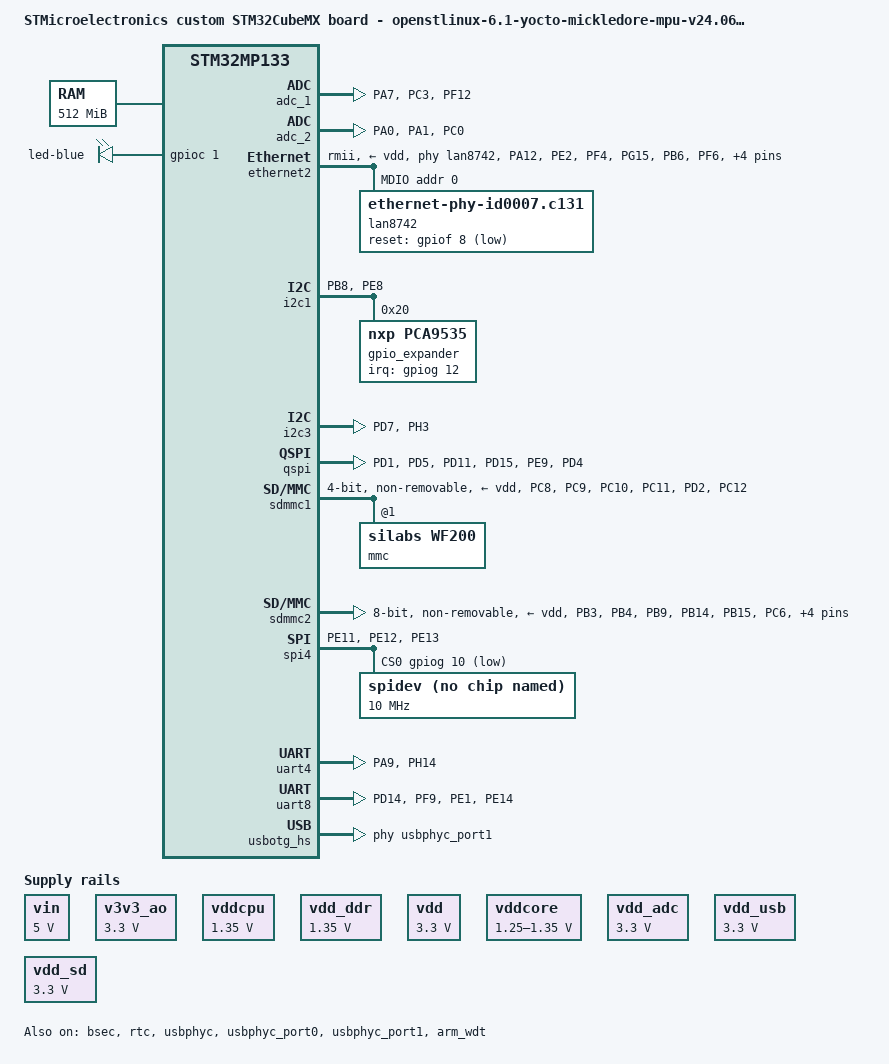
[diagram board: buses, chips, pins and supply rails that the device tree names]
// SPDX-License-Identifier: (GPL-2.0-or-later OR BSD-3-Clause)
/*
 * Copyright (C) 2025, STMicroelectronics - All Rights Reserved
 * Author: STM32CubeMX code generation for STMicroelectronics.
 */

/* For more information on Device Tree configuration, please refer to
 * https://wiki.st.com/stm32mpu/wiki/Category:Device_tree_configuration
 */

/dts-v1/;

#include <dt-bindings/pinctrl/stm32-pinfunc.h>
#include "stm32mp133.dtsi"

/* USER CODE BEGIN includes */
#include <dt-bindings/gpio/gpio.h>
#include <dt-bindings/input/input.h>
#include <dt-bindings/leds/common.h>
#include <dt-bindings/pwm/pwm.h>
#include <dt-bindings/rtc/rtc-stm32.h>
/* USER CODE END includes */

/ {
	model = "STMicroelectronics custom STM32CubeMX board - openstlinux-6.1-yocto-mickledore-mpu-v24.06.26";
	compatible = "st,stm32mp133d-thingscore-1-mx", "st,stm32mp133";

	memory@c0000000 {
		device_type = "memory";
		reg = <0xc0000000 0x20000000>;

		/* USER CODE BEGIN memory */
		/* USER CODE END memory */
	};

	reserved-memory {
		#address-cells = <1>;
		#size-cells = <1>;
		ranges;

		/* USER CODE BEGIN reserved-memory */
		/* USER CODE END reserved-memory */
	};

	/* USER CODE BEGIN root */
	aliases{
		serial0 = &uart4;
		ethernet0 = &ethernet2;
	};

	chosen{
		stdout-path = "serial0:115200n8";
	};

	leds{
		compatible = "gpio-leds";

		led-blue{
			function = LED_FUNCTION_HEARTBEAT;
			gpios = <&gpioc 1 GPIO_ACTIVE_HIGH>;
			linux,default-trigger = "heartbeat";
			default-state = "on";
		};
	};
	
	wfx_pwrseq: wfx_pwrseq {
		compatible = "mmc-pwrseq-simple";
		pinctrl-names = "default";
	};
	
	sdmmc1_io: sdmmc1_io {
		compatible = "st,stm32mp13-iod";
		regulator-name = "sdmmc1_io";
		regulator-always-on;
	};

	sdmmc2_io: sdmmc2_io {
		compatible = "st,stm32mp13-iod";
		regulator-name = "sdmmc2_io";
		regulator-always-on;
	};

	vin: vin {
		compatible = "regulator-fixed";
		regulator-name = "vin";
		regulator-min-microvolt = <5000000>;
		regulator-max-microvolt = <5000000>;
		regulator-always-on;
	};

	v3v3_ao: v3v3_ao {
		compatible = "regulator-fixed";
		regulator-name = "v3v3_ao";
		regulator-min-microvolt = <3300000>;
		regulator-max-microvolt = <3300000>;
		regulator-always-on;
	};

	vddcpu: vddcpu {
		compatible = "regulator-fixed";
		regulator-name = "vddcpu";
		regulator-min-microvolt = <1350000>;
		regulator-max-microvolt = <1350000>;
		regulator-always-on;
	};

	vdd_ddr: vdd_ddr {
		compatible = "regulator-fixed";
		regulator-name = "vdd_ddr";
		regulator-min-microvolt = <1350000>;
		regulator-max-microvolt = <1350000>;
		regulator-always-on;
	};

	vdd: vdd {
		compatible = "regulator-fixed";
		regulator-name = "vdd";
		regulator-min-microvolt = <3300000>;
		regulator-max-microvolt = <3300000>;
		regulator-always-on;
	};

	vddcore: vddcore {
		compatible = "regulator-fixed";
		regulator-name = "vddcore";
		regulator-min-microvolt = <1250000>;
		regulator-max-microvolt = <1350000>;
		regulator-always-on;
	};

	vdd_adc: vdd_adc {
		compatible = "regulator-fixed";
		regulator-name = "vdd_adc";
		regulator-min-microvolt = <3300000>;
		regulator-max-microvolt = <3300000>;
		regulator-always-on;
	};

	vdd_usb: vdd_usb {
		compatible = "regulator-fixed";
		regulator-name = "vdd_usb";
		regulator-min-microvolt = <3300000>;
		regulator-max-microvolt = <3300000>;
		regulator-always-on;
	};

	vdd_sd: vdd_sd {
		compatible = "regulator-fixed";
		regulator-name = "vdd_sd";
		regulator-min-microvolt = <3300000>;
		regulator-max-microvolt = <3300000>;
		regulator-always-on;
	};
	/* USER CODE END root */

	clocks{

		/* USER CODE BEGIN clocks */
		/* USER CODE END clocks */
	};

}; /*root*/

&pinctrl {

	adc1_pins_mx: adc1_mx-0 {
		pins {
			pinmux = <STM32_PINMUX('A', 7, ANALOG)>, /* ADC1_INP16 */
					 <STM32_PINMUX('C', 3, ANALOG)>, /* ADC1_INP13 */
					 <STM32_PINMUX('F', 12, ANALOG)>; /* ADC1_INP6 */
		};
	};

	adc1_sleep_pins_mx: adc1_sleep_mx-0 {
		pins {
			pinmux = <STM32_PINMUX('A', 7, ANALOG)>, /* ADC1_INP16 */
					 <STM32_PINMUX('C', 3, ANALOG)>, /* ADC1_INP13 */
					 <STM32_PINMUX('F', 12, ANALOG)>; /* ADC1_INP6 */
		};
	};

	adc2_pins_mx: adc2_mx-0 {
		pins {
			pinmux = <STM32_PINMUX('A', 0, ANALOG)>, /* ADC2_INP7 */
					 <STM32_PINMUX('A', 1, ANALOG)>, /* ADC2_INP3 */
					 <STM32_PINMUX('C', 0, ANALOG)>; /* ADC2_INP0 */
		};
	};

	adc2_sleep_pins_mx: adc2_sleep_mx-0 {
		pins {
			pinmux = <STM32_PINMUX('A', 0, ANALOG)>, /* ADC2_INP7 */
					 <STM32_PINMUX('A', 1, ANALOG)>, /* ADC2_INP3 */
					 <STM32_PINMUX('C', 0, ANALOG)>; /* ADC2_INP0 */
		};
	};

	eth2_pins_mx: eth2_mx-0 {
		pins1 {
			pinmux = <STM32_PINMUX('A', 12, AF11)>, /* ETH2_CRS_DV */
					 <STM32_PINMUX('E', 2, AF10)>, /* ETH2_RXD1 */
					 <STM32_PINMUX('F', 4, AF11)>, /* ETH2_RXD0 */
					 <STM32_PINMUX('G', 15, AF10)>; /* ETH2_PHY_INTN */
			bias-disable;
		};
		pins2 {
			pinmux = <STM32_PINMUX('B', 6, AF11)>; /* ETH2_MDIO */
			bias-disable;
			drive-push-pull;
			slew-rate = <0>;
		};
		pins3 {
			pinmux = <STM32_PINMUX('F', 6, AF11)>, /* ETH2_TX_EN */
					 <STM32_PINMUX('F', 7, AF11)>, /* ETH2_TXD0 */
					 <STM32_PINMUX('G', 5, AF10)>, /* ETH2_MDC */
					 <STM32_PINMUX('G', 11, AF10)>, /* ETH2_TXD1 */
					 <STM32_PINMUX('H', 11, AF11)>; /* ETH2_REF_CLK */
			bias-disable;
			drive-push-pull;
			slew-rate = <1>;
		};
	};

	eth2_sleep_pins_mx: eth2_sleep_mx-0 {
		pins {
			pinmux = <STM32_PINMUX('A', 12, ANALOG)>, /* ETH2_CRS_DV */
					 <STM32_PINMUX('B', 6, ANALOG)>, /* ETH2_MDIO */
					 <STM32_PINMUX('E', 2, ANALOG)>, /* ETH2_RXD1 */
					 <STM32_PINMUX('F', 4, ANALOG)>, /* ETH2_RXD0 */
					 <STM32_PINMUX('F', 6, ANALOG)>, /* ETH2_TX_EN */
					 <STM32_PINMUX('F', 7, ANALOG)>, /* ETH2_TXD0 */
					 <STM32_PINMUX('G', 5, ANALOG)>, /* ETH2_MDC */
					 <STM32_PINMUX('G', 11, ANALOG)>, /* ETH2_TXD1 */
					 <STM32_PINMUX('G', 15, ANALOG)>, /* ETH2_PHY_INTN */
					 <STM32_PINMUX('H', 11, ANALOG)>; /* ETH2_REF_CLK */
		};
	};

	i2c1_pins_mx: i2c1_mx-0 {
		pins {
			pinmux = <STM32_PINMUX('B', 8, AF4)>, /* I2C1_SCL */
					 <STM32_PINMUX('E', 8, AF5)>; /* I2C1_SDA */
			bias-disable;
			drive-open-drain;
			slew-rate = <0>;
		};
	};

	i2c1_sleep_pins_mx: i2c1_sleep_mx-0 {
		pins {
			pinmux = <STM32_PINMUX('B', 8, ANALOG)>, /* I2C1_SCL */
					 <STM32_PINMUX('E', 8, ANALOG)>; /* I2C1_SDA */
		};
	};

	i2c3_pins_mx: i2c3_mx-0 {
		pins {
			pinmux = <STM32_PINMUX('D', 7, AF5)>, /* I2C3_SDA */
					 <STM32_PINMUX('H', 3, AF4)>; /* I2C3_SCL */
			bias-disable;
			drive-open-drain;
			slew-rate = <0>;
		};
	};

	i2c3_sleep_pins_mx: i2c3_sleep_mx-0 {
		pins {
			pinmux = <STM32_PINMUX('D', 7, ANALOG)>, /* I2C3_SDA */
					 <STM32_PINMUX('H', 3, ANALOG)>; /* I2C3_SCL */
		};
	};

	quadspi_pins_mx: quadspi_mx-0 {
		pins1 {
			pinmux = <STM32_PINMUX('D', 1, AF9)>, /* QUADSPI_BK1_NCS */
					 <STM32_PINMUX('D', 5, AF9)>, /* QUADSPI_BK1_IO0 */
					 <STM32_PINMUX('D', 11, AF9)>, /* QUADSPI_BK1_IO2 */
					 <STM32_PINMUX('D', 15, AF9)>, /* QUADSPI_BK1_IO3 */
					 <STM32_PINMUX('E', 9, AF9)>; /* QUADSPI_BK1_IO1 */
			bias-disable;
			drive-push-pull;
			slew-rate = <1>;
		};
		pins2 {
			pinmux = <STM32_PINMUX('D', 4, AF9)>; /* QUADSPI_CLK */
			bias-disable;
			drive-push-pull;
			slew-rate = <2>;
		};
	};

	quadspi_sleep_pins_mx: quadspi_sleep_mx-0 {
		pins {
			pinmux = <STM32_PINMUX('D', 1, ANALOG)>, /* QUADSPI_BK1_NCS */
					 <STM32_PINMUX('D', 4, ANALOG)>, /* QUADSPI_CLK */
					 <STM32_PINMUX('D', 5, ANALOG)>, /* QUADSPI_BK1_IO0 */
					 <STM32_PINMUX('D', 11, ANALOG)>, /* QUADSPI_BK1_IO2 */
					 <STM32_PINMUX('D', 15, ANALOG)>, /* QUADSPI_BK1_IO3 */
					 <STM32_PINMUX('E', 9, ANALOG)>; /* QUADSPI_BK1_IO1 */
		};
	};

	sdmmc1_pins_mx: sdmmc1_mx-0 {
		pins1 {
			pinmux = <STM32_PINMUX('C', 8, AF12)>, /* SDMMC1_D0 */
					 <STM32_PINMUX('C', 9, AF12)>, /* SDMMC1_D1 */
					 <STM32_PINMUX('C', 10, AF12)>, /* SDMMC1_D2 */
					 <STM32_PINMUX('C', 11, AF12)>, /* SDMMC1_D3 */
					 <STM32_PINMUX('D', 2, AF12)>; /* SDMMC1_CMD */
			bias-pull-up;
			drive-push-pull;
			slew-rate = <1>;
		};
		pins2 {
			pinmux = <STM32_PINMUX('C', 12, AF12)>; /* SDMMC1_CK */
			bias-pull-up;
			drive-push-pull;
			slew-rate = <3>;
		};
	};

	sdmmc1_opendrain_pins_mx: sdmmc1_opendrain_mx-0 {
		pins1 {
			pinmux = <STM32_PINMUX('C', 8, AF12)>, /* SDMMC1_D0 */
					 <STM32_PINMUX('C', 9, AF12)>, /* SDMMC1_D1 */
					 <STM32_PINMUX('C', 10, AF12)>, /* SDMMC1_D2 */
					 <STM32_PINMUX('C', 11, AF12)>; /* SDMMC1_D3 */
			bias-pull-up;
			drive-push-pull;
			slew-rate = <1>;
		};
		pins2 {
			pinmux = <STM32_PINMUX('C', 12, AF12)>; /* SDMMC1_CK */
			bias-pull-up;
			drive-push-pull;
			slew-rate = <3>;
		};
		pins3 {
			pinmux = <STM32_PINMUX('D', 2, AF12)>; /* SDMMC1_CMD */
			bias-pull-up;
			drive-open-drain;
			slew-rate = <1>;
		};
	};

	sdmmc1_sleep_pins_mx: sdmmc1_sleep_mx-0 {
		pins {
			pinmux = <STM32_PINMUX('C', 8, ANALOG)>, /* SDMMC1_D0 */
					 <STM32_PINMUX('C', 9, ANALOG)>, /* SDMMC1_D1 */
					 <STM32_PINMUX('C', 10, ANALOG)>, /* SDMMC1_D2 */
					 <STM32_PINMUX('C', 11, ANALOG)>, /* SDMMC1_D3 */
					 <STM32_PINMUX('C', 12, ANALOG)>, /* SDMMC1_CK */
					 <STM32_PINMUX('D', 2, ANALOG)>; /* SDMMC1_CMD */
		};
	};

	sdmmc2_opendrain_pins_mx: sdmmc2_opendrain_mx-0 {
		pins1 {
			pinmux = <STM32_PINMUX('B', 3, AF10)>, /* SDMMC2_D2 */
					 <STM32_PINMUX('B', 4, AF10)>, /* SDMMC2_D3 */
					 <STM32_PINMUX('B', 9, AF10)>, /* SDMMC2_D5 */
					 <STM32_PINMUX('B', 14, AF10)>, /* SDMMC2_D0 */
					 <STM32_PINMUX('B', 15, AF10)>, /* SDMMC2_D1 */
					 <STM32_PINMUX('C', 6, AF10)>, /* SDMMC2_D6 */
					 <STM32_PINMUX('C', 7, AF10)>, /* SDMMC2_D7 */
					 <STM32_PINMUX('F', 0, AF10)>; /* SDMMC2_D4 */
			bias-disable;
			drive-push-pull;
			slew-rate = <1>;
		};
		pins2 {
			pinmux = <STM32_PINMUX('E', 3, AF10)>; /* SDMMC2_CK */
			bias-disable;
			drive-push-pull;
			slew-rate = <3>;
		};
		pins3 {
			pinmux = <STM32_PINMUX('G', 6, AF10)>; /* SDMMC2_CMD */
			bias-disable;
			drive-open-drain;
			slew-rate = <1>;
		};
	};
	
	sdmmc2_pins_mx: sdmmc2_mx-0 {
		pins1 {
			pinmux = <STM32_PINMUX('B', 3, AF10)>, /* SDMMC2_D2 */
					 <STM32_PINMUX('B', 4, AF10)>, /* SDMMC2_D3 */
					 <STM32_PINMUX('B', 9, AF10)>, /* SDMMC2_D5 */
					 <STM32_PINMUX('B', 14, AF10)>, /* SDMMC2_D0 */
					 <STM32_PINMUX('B', 15, AF10)>, /* SDMMC2_D1 */
					 <STM32_PINMUX('C', 6, AF10)>, /* SDMMC2_D6 */
					 <STM32_PINMUX('C', 7, AF10)>, /* SDMMC2_D7 */
					 <STM32_PINMUX('F', 0, AF10)>, /* SDMMC2_D4 */
					 <STM32_PINMUX('G', 6, AF10)>; /* SDMMC2_CMD */
			bias-disable;
			drive-push-pull;
			slew-rate = <1>;
		};
		pins2 {
			pinmux = <STM32_PINMUX('E', 3, AF10)>; /* SDMMC2_CK */
			bias-disable;
			drive-push-pull;
			slew-rate = <3>;
		};
	};

	sdmmc2_sleep_pins_mx: sdmmc2_sleep_mx-0 {
		pins {
			pinmux = <STM32_PINMUX('B', 3, ANALOG)>, /* SDMMC2_D2 */
					 <STM32_PINMUX('B', 4, ANALOG)>, /* SDMMC2_D3 */
					 <STM32_PINMUX('B', 9, ANALOG)>, /* SDMMC2_D5 */
					 <STM32_PINMUX('B', 14, ANALOG)>, /* SDMMC2_D0 */
					 <STM32_PINMUX('B', 15, ANALOG)>, /* SDMMC2_D1 */
					 <STM32_PINMUX('C', 6, ANALOG)>, /* SDMMC2_D6 */
					 <STM32_PINMUX('C', 7, ANALOG)>, /* SDMMC2_D7 */
					 <STM32_PINMUX('E', 3, ANALOG)>, /* SDMMC2_CK */
					 <STM32_PINMUX('F', 0, ANALOG)>, /* SDMMC2_D4 */
					 <STM32_PINMUX('G', 6, ANALOG)>; /* SDMMC2_CMD */
		};
	};


	spi4_pins_mx: spi4_mx-0 {
		pins {
			pinmux = <STM32_PINMUX('E', 11, AF5)>, /* SPI4_MOSI */
					 <STM32_PINMUX('E', 12, AF5)>, /* SPI4_SCK */
					 <STM32_PINMUX('E', 13, AF5)>; /* SPI4_MISO */
			bias-disable;
			drive-push-pull;
			slew-rate = <1>;
		};
	};

	spi4_sleep_pins_mx: spi4_sleep_mx-0 {
		pins {
			pinmux = <STM32_PINMUX('E', 11, ANALOG)>, /* SPI4_MOSI */
					 <STM32_PINMUX('E', 12, ANALOG)>, /* SPI4_SCK */
					 <STM32_PINMUX('E', 13, ANALOG)>; /* SPI4_MISO */
		};
	};

	uart4_pins_mx: uart4_mx-0 {
		pins1 {
			pinmux = <STM32_PINMUX('A', 9, AF8)>; /* UART4_TX */
			bias-disable;
			drive-push-pull;
			slew-rate = <0>;
		};
		pins2 {
			pinmux = <STM32_PINMUX('H', 14, AF8)>; /* UART4_RX */
			bias-disable;
		};
	};

	uart4_idle_pins_mx: uart4_idle_mx-0 {
		pins1 {
			pinmux = <STM32_PINMUX('A', 9, AF8)>; /* UART4_TX */
			bias-disable;
			drive-push-pull;
			slew-rate = <0>;
		};
		pins2 {
			pinmux = <STM32_PINMUX('H', 14, AF8)>; /* UART4_RX */
			bias-disable;
		};
	};

	uart4_sleep_pins_mx: uart4_sleep_mx-0 {
		pins {
			pinmux = <STM32_PINMUX('A', 9, ANALOG)>, /* UART4_TX */
					 <STM32_PINMUX('H', 14, ANALOG)>; /* UART4_RX */
		};
	};

	uart8_pins_mx: uart8_mx-0 {
		pins1 {
			pinmux = <STM32_PINMUX('D', 14, AF8)>, /* UART8_CTS */
					 <STM32_PINMUX('F', 9, AF8)>; /* UART8_RX */
			bias-disable;
		};
		pins2 {
			pinmux = <STM32_PINMUX('E', 1, AF8)>, /* UART8_TX */
					 <STM32_PINMUX('E', 14, AF8)>; /* UART8_RTS */
			bias-disable;
			drive-push-pull;
			slew-rate = <0>;
		};
	};

	uart8_idle_pins_mx: uart8_idle_mx-0 {
		pins1 {
			pinmux = <STM32_PINMUX('D', 14, AF8)>, /* UART8_CTS */
					 <STM32_PINMUX('F', 9, AF8)>; /* UART8_RX */
			bias-disable;
		};
		pins2 {
			pinmux = <STM32_PINMUX('E', 1, AF8)>, /* UART8_TX */
					 <STM32_PINMUX('E', 14, AF8)>; /* UART8_RTS */
			bias-disable;
			drive-push-pull;
			slew-rate = <0>;
		};
	};

	uart8_sleep_pins_mx: uart8_sleep_mx-0 {
		pins {
			pinmux = <STM32_PINMUX('D', 14, ANALOG)>, /* UART8_CTS */
					 <STM32_PINMUX('E', 1, ANALOG)>, /* UART8_TX */
					 <STM32_PINMUX('E', 14, ANALOG)>, /* UART8_RTS */
					 <STM32_PINMUX('F', 9, ANALOG)>; /* UART8_RX */
		};
	};

	/* USER CODE BEGIN pinctrl */
	/* USER CODE END pinctrl */
};

&adc_1{
	pinctrl-names = "default", "sleep";
	pinctrl-0 = <&adc1_pins_mx>;
	pinctrl-1 = <&adc1_sleep_pins_mx>;
	status = "okay";

	/* USER CODE BEGIN adc_1 */
	/* USER CODE END adc_1 */
};

&adc_2{
	pinctrl-names = "default", "sleep";
	pinctrl-0 = <&adc2_pins_mx>;
	pinctrl-1 = <&adc2_sleep_pins_mx>;
	status = "okay";

	/* USER CODE BEGIN adc_2 */
	/* USER CODE END adc_2 */
};

&bsec{
	status = "okay";

	/* USER CODE BEGIN bsec */
	/* USER CODE END bsec */
};

&dmamux1{
	status = "okay";

	/* !!! log : Warning - No dma master found  !!! */

	/* USER CODE BEGIN dmamux1 */
	/* USER CODE END dmamux1 */
};

&ethernet2 {
	pinctrl-names = "default", "sleep";
	pinctrl-0 = <&eth2_pins_mx>;
	pinctrl-1 = <&eth2_sleep_pins_mx>;
	status = "okay";

	/* USER CODE BEGIN ethernet2 */
	phy-mode = "rmii";
	max-speed = <100>;
	phy-handle = <&lan8742>;
	st,ext-phyclk;
	phy-supply = <&vdd>;
	nvmem-cells = <&ethernet_mac2_address>;
	nvmem-cell-names = "mac-address";
	mac-address = [00 11 22 33 44 55];
    phy-handle = <&lan8742>;


	mdio0 {
		#address-cells = <1>;
		#size-cells = <0>;
		compatible = "snps,dwmac-mdio";

		lan8742:ethernet-phy@0{
			compatible = "ethernet-phy-id0007.c131";
			reset-gpios = <&gpiof 8 GPIO_ACTIVE_LOW>;
			reset-assert-us = <1000>;
			reset-deassert-us = <30000>;
			reg = <0>;
		};
	};
	/* USER CODE END ethernet2 */
};
&i2c1{
	pinctrl-names = "default", "sleep";
	pinctrl-0 = <&i2c1_pins_mx>;
	pinctrl-1 = <&i2c1_sleep_pins_mx>;
	status = "okay";

	/* USER CODE BEGIN i2c1 */
    gpio_expander: gpio@20 {
        compatible = "nxp,pca9535";
        reg = <0x20>;

        gpio-controller;
		#gpio-cells = <2>;
		interrupts = <12 IRQ_TYPE_LEVEL_LOW>;
		interrupt-parent = <&gpiog>;
		pinctrl-names = "default";
		pinctrl-0 = <&tca9535_pins_a>;
		interrupt-controller;
		#interrupt-cells = <2>;
		ti,irq-mirror;
        
    };	
	/* USER CODE END i2c1 */
};

&i2c3{
	pinctrl-names = "default", "sleep";
	pinctrl-0 = <&i2c3_pins_mx>;
	pinctrl-1 = <&i2c3_sleep_pins_mx>;
	status = "okay";

	/* USER CODE BEGIN i2c3 */
	/* USER CODE END i2c3 */
};

&mdma{
	status = "okay";

	/* USER CODE BEGIN mdma */
	/* USER CODE END mdma */
};

&qspi{
	pinctrl-names = "default", "sleep";
	pinctrl-0 = <&quadspi_pins_mx>;
	pinctrl-1 = <&quadspi_sleep_pins_mx>;
	status = "okay";

	/* USER CODE BEGIN qspi */
	/* USER CODE END qspi */
};

&rcc{
	status = "okay";

	/* USER CODE BEGIN rcc */
	/* USER CODE END rcc */
};

&rtc{
	status = "okay";

	/* USER CODE BEGIN rtc */
	/* USER CODE END rtc */
};

&sdmmc1{
	pinctrl-names = "default", "opendrain", "sleep";
	pinctrl-0 = <&sdmmc1_pins_mx>;
	pinctrl-1 = <&sdmmc1_opendrain_pins_mx>;
	pinctrl-2 = <&sdmmc1_sleep_pins_mx>;
	status = "okay";

	/* USER CODE BEGIN sdmmc1 */
	non-removable;
	no-sd;
	no-sdio;
	bus-width = <4>;
	vmmc-supply = <&vdd>;
	#address-cells = <1>;
	#size-cells = <0>;
	/* USER CODE END sdmmc1 */
};

&sdmmc2{
	pinctrl-names = "default", "opendrain", "sleep";
	pinctrl-0 = <&sdmmc2_pins_mx>;
	pinctrl-1 = <&sdmmc2_opendrain_pins_mx>;
	pinctrl-2 = <&sdmmc2_sleep_pins_mx>;
	status = "okay";

	/* USER CODE BEGIN sdmmc2 */
	       
	non-removable;                                       
	no-sd;                                               
	no-sdio;                                              
	st,neg-edge;                                           
	bus-width = <8>;                                    
	vmmc-supply = <&vdd>;                      
	vqmmc-supply = <&vdd>;     
	status = "okay";   
	/* USER CODE END sdmmc2 */
};

&spi4{
	pinctrl-names = "default", "sleep";
	pinctrl-0 = <&spi4_pins_mx>;
	pinctrl-1 = <&spi4_sleep_pins_mx>;
	status = "okay";

	/* USER CODE BEGIN spi4 */
	cs-gpios = <&gpiog 10 GPIO_ACTIVE_LOW>;
	
    spidev@0 {
		compatible = "rohm,dh2228fv";
		reg = <0>;
		spi-max-frequency = <10000000>;
    };
	/* USER CODE END spi4 */
};

&uart4{
	pinctrl-names = "default", "idle", "sleep";
	pinctrl-0 = <&uart4_pins_mx>;
	pinctrl-1 = <&uart4_idle_pins_mx>;
	pinctrl-2 = <&uart4_sleep_pins_mx>;
	status = "okay";

	/* USER CODE BEGIN uart4 */
	/delete-property/ dmas;
	/delete-property/ dma-names;
	/* USER CODE END uart4 */
};

&uart8{
	pinctrl-names = "default", "idle", "sleep";
	pinctrl-0 = <&uart8_pins_mx>;
	pinctrl-1 = <&uart8_idle_pins_mx>;
	pinctrl-2 = <&uart8_sleep_pins_mx>;
	status = "okay";

	/* USER CODE BEGIN uart8 */
	/* USER CODE END uart8 */
};

&usbotg_hs{
	status = "okay";

	/* USER CODE BEGIN usbotg_hs */
	phys = <&usbphyc_port1 0>;
	phy-names = "usb2-phy";
	usb-role-switch;
	/* USER CODE END usbotg_hs */
};

&usbphyc{
	status = "okay";

	/* USER CODE BEGIN usbphyc */
	/* USER CODE END usbphyc */
};

&usbphyc_port0{
	status = "okay";

	/* USER CODE BEGIN usbphyc_port0 */
	phy-supply = <&scmi_vdd_usb>;
	st,current-boost-microamp = <1000>;
	st,decrease-hs-slew-rate;
	st,tune-hs-dc-level = <2>;
	st,enable-hs-rftime-reduction;
	st,trim-hs-current = <11>;
	st,trim-hs-impedance = <2>;
	st,tune-squelch-level = <1>;
	st,enable-hs-rx-gain-eq;
	st,no-hs-ftime-ctrl;
	st,no-lsfs-sc;
	/* USER CODE END usbphyc_port0 */
};

&usbphyc_port1{
	status = "okay";

	/* USER CODE BEGIN usbphyc_port1 */
	phy-supply = <&scmi_vdd_usb>;
	st,current-boost-microamp = <1000>;
	st,decrease-hs-slew-rate;
	st,tune-hs-dc-level = <2>;
	st,enable-hs-rftime-reduction;
	st,trim-hs-current = <11>;
	st,trim-hs-impedance = <2>;
	st,tune-squelch-level = <1>;
	st,enable-hs-rx-gain-eq;
	st,no-hs-ftime-ctrl;
	st,no-lsfs-sc;
	/* USER CODE END usbphyc_port1 */
};

/* USER CODE BEGIN addons */
&arm_wdt {
	timeout-sec = <32>;
	status = "okay";
};

&scmi_regu {
	scmi_vddcpu: voltd-vddcpu {
		reg = <VOLTD_SCMI_STPMIC1_BUCK1>;
		voltd-supply = <&vddcpu>;
	};
	scmi_vdd: voltd-vdd {
		reg = <VOLTD_SCMI_STPMIC1_BUCK3>;
		voltd-supply = <&vdd>;
	};

	scmi_vddcore: voltd-vddcore {
		reg = <VOLTD_SCMI_STPMIC1_BUCK4>;
		voltd-supply = <&vddcore>;
	};

	scmi_vdd_adc: voltd-vdd_adc {
		reg = <VOLTD_SCMI_STPMIC1_LDO1>;
		voltd-supply = <&vdd_adc>;
	};

	scmi_vdd_usb: voltd-vdd_usb {
		reg = <VOLTD_SCMI_STPMIC1_LDO4>;
		voltd-supply = <&vdd_usb>;
	};

	scmi_vdd_sd: voltd-vdd_sd {
		reg = <VOLTD_SCMI_STPMIC1_LDO5>;
		voltd-supply = <&vdd_sd>;
	};
};

&pinctrl{
	tca9535_pins_a: tca9535-0 {
		pins {
			pinmux = <STM32_PINMUX('G', 9, GPIO)>;
			bias-disable;
		};
	};
};

&sdmmc1 {
	
	mmc@1 {
		compatible = "silabs,wf200";
		reg = <1>;
		pinctrl-names = "default";

	};
};
/* USER CODE END addons */

